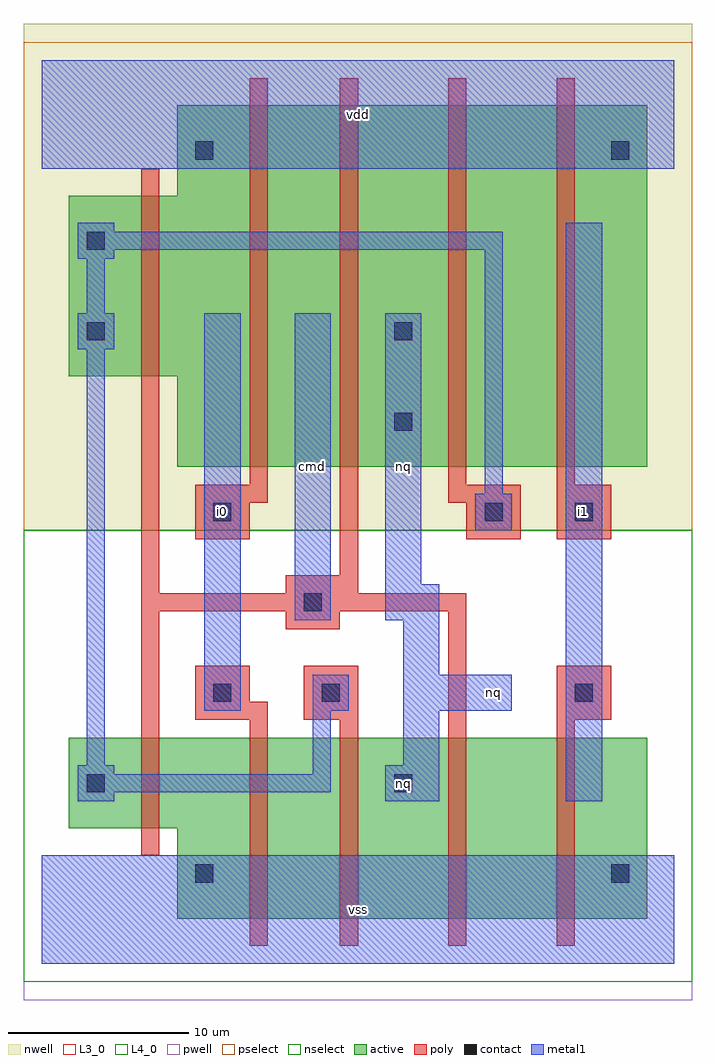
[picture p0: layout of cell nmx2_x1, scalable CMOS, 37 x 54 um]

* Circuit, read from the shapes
.subckt nmx2_x1 cmd i0 i1 nq vdd vss
M1 vss cmd n1 VSUBS nfet w=5u l=1u
M2 n2 i0 vss VSUBS nfet w=10u l=1u
M3 nq n1 n2 VSUBS nfet w=10u l=1u
M4 n3 cmd nq VSUBS nfet w=10u l=1u
M5 vss i1 n3 VSUBS nfet w=10u l=1u
M6 vdd cmd n1 n4 pfet w=10u l=1u
M7 n5 i0 vdd n4 pfet w=20u l=1u
M8 nq cmd n5 n4 pfet w=20u l=1u
M9 n6 n1 nq n4 pfet w=20u l=1u
M10 vdd i1 n6 n4 pfet w=20u l=1u
.ends

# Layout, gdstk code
import gdstk
lib = gdstk.Library(unit=1e-6, precision=1e-09)
def R(c, l, rs):  # rectangles x0, y0, x1, y1
    for r in rs: c.add(gdstk.rectangle(r[:2], r[2:], *l))
L3_0 = (3, 0)
L4_0 = (4, 0)
contact = (25, 0)
pwell = (41, 0)
nwell = (42, 0)
active = (43, 0)
pselect = (44, 0)
nselect = (45, 0)
poly = (46, 0)
metal1 = (49, 0)

nmx2_x1 = lib.new_cell('nmx2_x1')
R(nmx2_x1, L3_0, [(7.5,2.5,33.5,7.5), (1.5,7.5,33.5,12.5)])
R(nmx2_x1, L4_0, [(7.5,27.5,33.5,32.5), (1.5,32.5,33.5,42.5), (7.5,42.5,33.5,47.5)])
R(nmx2_x1, contact, [(8.5,4.5,9.5,5.5), (31.5,4.5,32.5,5.5), (2.5,9.5,3.5,10.5), (19.5,9.5,20.5,10.5), (9.5,14.5,10.5,15.5), (15.5,14.5,16.5,15.5), (29.5,14.5,30.5,15.5), (14.5,19.5,15.5,20.5), (9.5,24.5,10.5,25.5), (24.5,24.5,25.5,25.5), (29.5,24.5,30.5,25.5), (19.5,29.5,20.5,30.5), (2.5,34.5,3.5,35.5), (19.5,34.5,20.5,35.5), (2.5,39.5,3.5,40.5), (8.5,44.5,9.5,45.5), (31.5,44.5,32.5,45.5)])
R(nmx2_x1, pwell, [(-1,-2,36,24)])
R(nmx2_x1, nwell, [(-1,24,36,52)])
R(nmx2_x1, active, [(7.5,2.5,33.5,7.5), (1.5,7.5,33.5,12.5), (7.5,27.5,33.5,32.5), (1.5,32.5,33.5,42.5), (7.5,42.5,33.5,47.5)])
R(nmx2_x1, pselect, [(-1,24,36,51)])
R(nmx2_x1, nselect, [(-1,-1,36,24)])
R(nmx2_x1, poly, [(11.5,1,12.5,13.5), (16.5,1,17.5,13.5), (22.5,1,23.5,19.5), (28.5,1,29.5,13.5), (5.5,6,6.5,19.5), (8.5,13.5,12.5,14.5), (14.5,13.5,17.5,16.5), (28.5,13.5,31.5,16.5), (8.5,14.5,11.5,16.5), (13.5,18.5,16.5,19.5), (5.5,19.5,23.5,20.5), (5.5,20.5,6.5,44), (13.5,20.5,17.5,21.5), (16.5,21.5,17.5,49), (8.5,23.5,11.5,25.5), (23.5,23.5,26.5,25.5), (28.5,23.5,31.5,26.5), (8.5,25.5,12.5,26.5), (22.5,25.5,26.5,26.5), (11.5,26.5,12.5,49), (22.5,26.5,23.5,49), (28.5,26.5,29.5,49)])
R(nmx2_x1, metal1, [(0,0,35,6), (2,9,4,9.5), (19,9,22,11), (29,9,31,41), (2,9.5,16,10.5), (2,10.5,4,11), (15,10.5,16,14), (2.5,11,3.5,34), (20,11,22,14), (9,14,11,36), (15,14,17,16), (20,14,26,16), (20,16,22,19), (14,19,16,36), (19,19,22,21), (19,21,21,36), (24,24,26,26), (24.5,26,25.5,39.5), (2,34,4,36), (2.5,36,3.5,39), (2,39,4,39.5), (2,39.5,25.5,40.5), (2,40.5,4,41), (0,44,35,50)])
nmx2_x1.add(gdstk.Label('cmd', (15,27.5), layer=49, texttype=0))
nmx2_x1.add(gdstk.Label('i0', (10,25), layer=49, texttype=0))
nmx2_x1.add(gdstk.Label('nq', (20,10), layer=49, texttype=0))
nmx2_x1.add(gdstk.Label('vss', (17.5,3), layer=49, texttype=0))
nmx2_x1.add(gdstk.Label('nq', (25,15), layer=49, texttype=0))
nmx2_x1.add(gdstk.Label('nq', (20,27.5), layer=49, texttype=0))
nmx2_x1.add(gdstk.Label('vdd', (17.5,47), layer=49, texttype=0))
nmx2_x1.add(gdstk.Label('i1', (30,25), layer=49, texttype=0))

lib.write_gds('nmx2_x1.gds')
